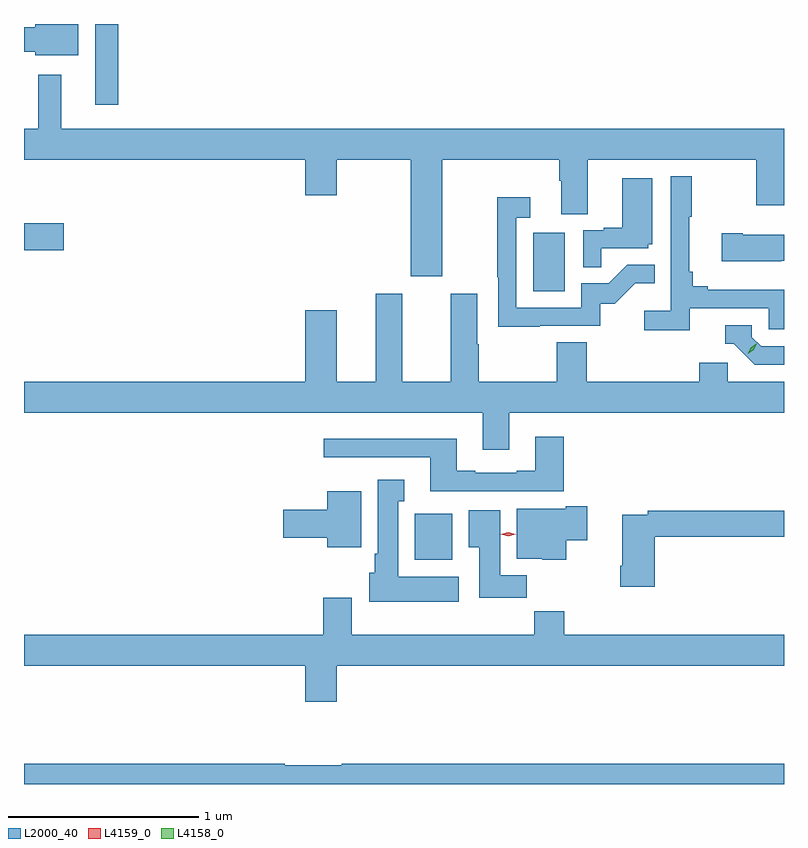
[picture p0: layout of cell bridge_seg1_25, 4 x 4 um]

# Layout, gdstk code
import gdstk
lib = gdstk.Library(unit=1e-6, precision=1e-09)
def R(c, l, rs):  # rectangles x0, y0, x1, y1
    for r in rs: c.add(gdstk.rectangle(r[:2], r[2:], *l))
def P(c, l, *ps):  # polygons
    for p in ps: c.add(gdstk.Polygon(p, *l))
L2000_40 = (2000, 40)
L4158_0 = (4158, 0)
L4159_0 = (4159, 0)

bridge_seg1_25 = lib.new_cell('bridge_seg1_25')
R(bridge_seg1_25, L2000_40, [(1124.624,548.294,1124.821,548.536), (1125.248,549.708,1125.412,550.015), (1122.567,549.923,1122.775,550.065), (1122.941,550.689,1123.063,551.114)])
P(bridge_seg1_25, L2000_40, [(1122.853,551.114),(1122.626,551.114),(1122.626,551.096),(1122.567,551.096),(1122.567,550.968),(1122.626,550.968),(1122.626,550.949),(1122.853,550.949)],
  [(1124.767,550.4),(1125.383,550.4),(1125.383,550.288),(1125.395,550.288),(1125.395,550.114),(1125.535,550.114),(1125.535,550.4),(1126.42,550.4),(1126.42,550.161),(1126.567,550.161),(1126.567,550.564),(1122.763,550.564),(1122.763,550.846),(1122.642,550.846),(1122.642,550.564),(1122.567,550.564),(1122.567,550.4),(1124.048,550.4),(1124.048,550.212),(1124.212,550.212),(1124.212,550.4),(1124.603,550.4),(1124.603,549.786),(1124.767,549.786)],
  [(1126.07,549.618),(1126.488,549.618),(1126.488,549.507),(1126.567,549.507),(1126.567,549.715),(1126.165,549.715),(1126.165,549.734),(1126.088,549.734),(1126.088,549.811),(1126.069,549.811),(1126.069,550.099),(1126.081,550.099),(1126.081,550.312),(1125.972,550.312),(1125.972,549.604),(1125.831,549.604),(1125.831,549.502),(1126.07,549.502)],
  [(1125.605,549.933),(1125.852,549.933),(1125.852,549.954),(1125.874,549.954),(1125.874,550.303),(1125.716,550.303),(1125.716,550.042),(1125.617,550.042),(1125.617,550.029),(1125.51,550.029),(1125.51,549.835),(1125.605,549.835)],
  [(1125.281,549.525),(1125.6,549.525),(1125.6,549.642),(1125.676,549.642),(1125.783,549.749),(1125.887,549.749),(1125.887,549.848),(1125.743,549.848),(1125.645,549.75),(1125.501,549.75),(1125.501,549.621),(1125.159,549.621),(1125.159,550.095),(1125.232,550.095),(1125.232,550.201),(1125.058,550.201),(1125.058,549.781),(1125.063,549.781),(1125.063,549.52),(1125.281,549.52)],
  [(1126.553,549.869),(1126.567,549.869),(1126.567,550.006),(1126.351,550.006),(1126.351,550.014),(1126.239,550.014),(1126.239,549.866),(1126.553,549.866)],
  [(1125.121,549.068),(1126.567,549.068),(1126.567,549.232),(1126.272,549.232),(1126.272,549.33),(1126.121,549.33),(1126.121,549.232),(1125.53,549.232),(1125.53,549.44),(1125.37,549.44),(1125.37,549.232),(1124.961,549.232),(1124.961,549.428),(1124.953,549.428),(1124.953,549.694),(1124.813,549.694),(1124.813,549.232),(1124.557,549.232),(1124.557,549.694),(1124.417,549.694),(1124.417,549.232),(1124.212,549.232),(1124.212,549.607),(1124.048,549.607),(1124.048,549.232),(1122.567,549.232),(1122.567,549.068),(1124.981,549.068),(1124.981,548.874),(1125.121,548.874)],
  [(1126.567,549.417),(1126.446,549.417),(1126.398,549.465),(1126.398,549.528),(1126.259,549.528),(1126.259,549.432),(1126.302,549.432),(1126.413,549.321),(1126.567,549.321)],
  [(1125.409,548.941),(1125.257,548.941),(1125.257,548.764),(1125.161,548.764),(1125.161,548.751),(1124.941,548.751),(1124.941,548.764),(1124.845,548.764),(1124.845,548.932),(1124.145,548.932),(1124.145,548.835),(1124.705,548.835),(1124.705,548.655),(1125.409,548.655)],
  [(1124.854,548.206),(1124.536,548.206),(1124.536,548.603),(1124.569,548.603),(1124.569,548.716),(1124.429,548.716),(1124.429,548.326),(1124.414,548.326),(1124.414,548.226),(1124.384,548.226),(1124.384,548.072),(1124.854,548.072)],
  [(1124.341,548.656),(1124.162,548.656),(1124.162,548.558),(1123.932,548.558),(1123.932,548.411),(1124.162,548.411),(1124.162,548.36),(1124.341,548.36)],
  [(1125.42,548.398),(1125.532,548.398),(1125.532,548.575),(1125.419,548.575),(1125.419,548.563),(1125.161,548.563),(1125.161,548.3),(1125.294,548.3),(1125.294,548.294),(1125.42,548.294)],
  [(1125.212,548.212),(1125.073,548.212),(1125.073,548.554),(1124.909,548.554),(1124.909,548.36),(1124.963,548.36),(1124.963,548.094),(1125.212,548.094)],
  [(1125.887,548.416),(1126.567,548.416),(1126.567,548.552),(1125.85,548.552),(1125.85,548.532),(1125.716,548.532),(1125.716,548.263),(1125.704,548.263),(1125.704,548.151),(1125.887,548.151)],
  [(1124.212,547.736),(1126.567,547.736),(1126.567,547.9),(1125.41,547.9),(1125.41,548.024),(1125.253,548.024),(1125.253,547.9),(1124.293,547.9),(1124.293,548.095),(1124.141,548.095),(1124.141,547.9),(1122.567,547.9),(1122.567,547.736),(1124.048,547.736),(1124.048,547.548),(1124.212,547.548)],
  [(1126.567,547.22),(1124.24,547.22),(1124.24,547.213),(1123.94,547.213),(1123.94,547.22),(1122.567,547.22),(1122.567,547.114),(1126.567,547.114)])
P(bridge_seg1_25, L4158_0, [(1126.375,549.378),(1126.375,549.378),(1126.391,549.411),(1126.422,549.431),(1126.423,549.431),(1126.423,549.43),(1126.406,549.398),(1126.375,549.378)])
P(bridge_seg1_25, L4159_0, [(1125.115,548.418),(1125.076,548.428),(1125.075,548.428),(1125.076,548.428),(1125.115,548.438),(1125.155,548.428),(1125.155,548.428),(1125.155,548.428)])

lib.write_gds('bridge_seg1_25.gds')
